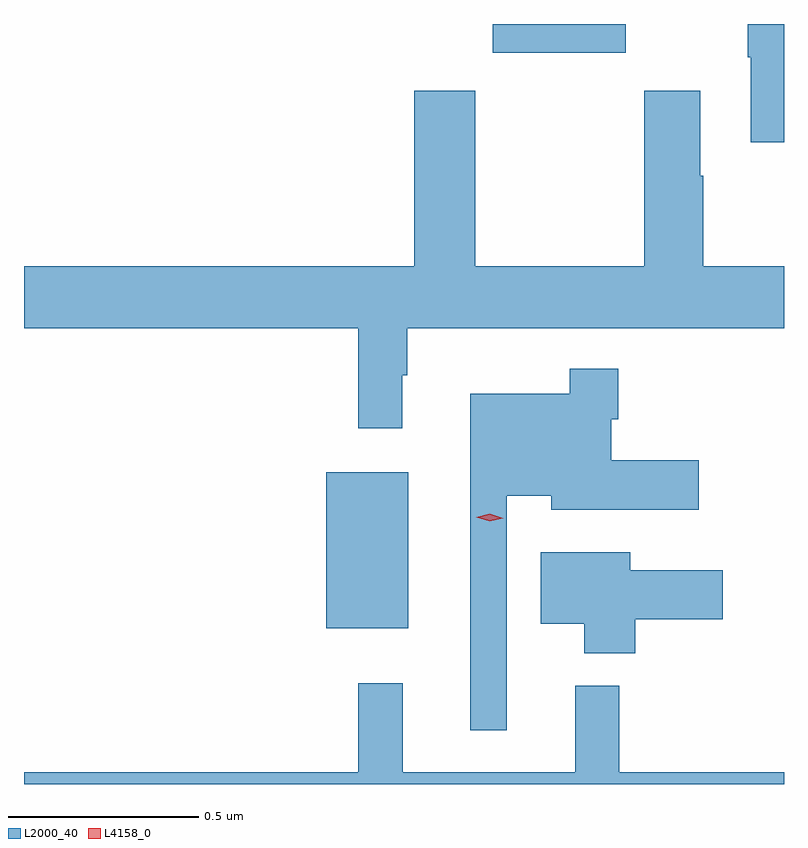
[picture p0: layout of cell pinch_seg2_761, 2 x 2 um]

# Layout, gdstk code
import gdstk
lib = gdstk.Library(unit=1e-6, precision=1e-09)
def R(c, l, rs):  # rectangles x0, y0, x1, y1
    for r in rs: c.add(gdstk.rectangle(r[:2], r[2:], *l))
def P(c, l, *ps):  # polygons
    for p in ps: c.add(gdstk.Polygon(p, *l))
L2000_40 = (2000, 40)
L4158_0 = (4158, 0)

pinch_seg2_761 = lib.new_cell('pinch_seg2_761')
R(pinch_seg2_761, L2000_40, [(854.888,654.839,855.103,655.249), (855.326,656.354,855.676,656.429)])
P(pinch_seg2_761, L2000_40, [(856.092,656.429),(855.997,656.429),(855.997,656.341),(856.004,656.341),(856.004,656.118),(856.092,656.118)],
  [(855.088,655.505),(855.1,655.505),(855.1,655.628),(856.092,655.628),(856.092,655.792),(855.879,655.792),(855.879,656.03),(855.871,656.03),(855.871,656.254),(855.724,656.254),(855.724,655.792),(855.279,655.792),(855.279,656.254),(855.119,656.254),(855.119,655.792),(854.092,655.792),(854.092,655.628),(854.971,655.628),(854.971,655.365),(855.088,655.365)],
  [(855.363,655.187),(855.479,655.187),(855.479,655.151),(855.868,655.151),(855.868,655.281),(855.637,655.281),(855.637,655.389),(855.656,655.389),(855.656,655.522),(855.528,655.522),(855.528,655.456),(855.266,655.456),(855.266,654.57),(855.363,654.57)],
  [(855.701,654.862),(855.931,654.862),(855.931,654.991),(855.688,654.991),(855.688,655.039),(855.452,655.039),(855.452,654.851),(855.566,654.851),(855.566,654.773),(855.701,654.773)],
  [(856.092,654.46),(855.659,654.46),(855.659,654.688),(855.542,654.688),(855.542,654.46),(855.089,654.46),(855.089,654.694),(854.971,654.694),(854.971,654.46),(854.092,654.46),(854.092,654.429),(856.092,654.429)])
P(pinch_seg2_761, L4158_0, [(855.317,655.12),(855.282,655.131),(855.282,655.131),(855.282,655.131),(855.318,655.14),(855.353,655.128),(855.353,655.128),(855.353,655.128)])

lib.write_gds('pinch_seg2_761.gds')
